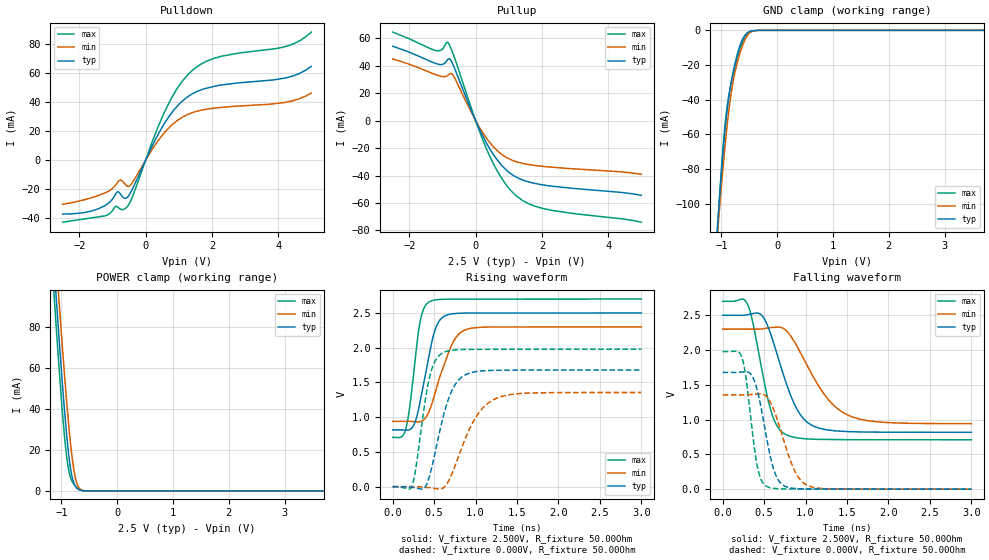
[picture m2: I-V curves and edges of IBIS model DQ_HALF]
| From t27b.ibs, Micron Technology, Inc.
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|   MODEL DQ_HALF
[Model]   DQ_HALF
Model_type   I/O
Vinl = 940.0mV
Vinh = 1.560V
Vmeas = 1.250V
Vref = 1.250V
Cref = 30.000pF
Rref = 50.000Ohm
|   typ   min   max
C_comp   3.42pF   3.22pF   3.74pF
[Model Spec]
| Input threshold voltage corners
Vinh   1.560V   1.460V   1.660V
Vinl   0.940V   0.840V   1.040V
| Measurement voltage corners
Vmeas   1.250V   1.150V   1.350V
[Voltage Range]   2.500V   2.300V   2.700V
| Junction Temperature (Ambient temp is 25C typ, 70C min, 0C max)
[Temperature Range]   40.0   85.0   0.0
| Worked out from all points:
|   slope of the pulldown table from 0 to 0.375 V, typ, clamps not added: 21.2 ohm
|   slope of the pullup table from 0 to 0.375 V, typ, clamps not added: 20.4 ohm
|   GND clamp passes 1 mA (typ) near -0.51 V on its own axis
|   POWER clamp passes 1 mA (typ) near -0.71 V on its own axis
|   falling waveform, V_fixture 2.500V, R_fixture 50.00Ohm: 20-80 % time 297ps typ, 426ps min, 208ps max; typ from 2.5 V to 0.817 V
|   rising waveform, V_fixture 2.500V, R_fixture 50.00Ohm: 20-80 % time 169ps typ, 230ps min, 120ps max; typ from 0.817 V to 2.5 V
|   rising waveform, V_fixture 0.000V, R_fixture 50.00Ohm: 20-80 % time 217ps typ, 310ps min, 151ps max; typ from 0 V to 1.68 V
|   falling waveform, V_fixture 0.000V, R_fixture 50.00Ohm: 20-80 % time 170ps typ, 233ps min, 124ps max; typ from 1.68 V to 0 V
[Pulldown]
|   Voltage   I(typ)   I(min)   I(max)
-2.5V     -37.07mA   -30.4mA    -42.7mA
-1.42V    -33.42mA   NA         NA
-1.08V    -28.9mA    NA         NA
-840mV    -21.64mA   NA         NA
-540mV    -25.35mA   NA         NA
360mV     17.1mA     NA         NA
700mV     29.98mA    NA         NA
1.04V     39.38mA    NA         NA
1.56V     47.55mA    NA         NA
2.2V      51.62mA    NA         NA
4.24V     56.82mA    NA         NA
5V        64.71mA    46.28mA    88.37mA
[GND Clamp]
|   Voltage   I(typ)   I(min)   I(max)
-2.5V     -883.9mA   -774.4mA   -1.04A
-1.1V     -126.7mA   NA         NA
-1.06V    -108mA     NA         NA
-1V       -81.8mA    NA         NA
-960mV    -66.07mA   NA         NA
-920mV    -52.41mA   NA         NA
-880mV    -41.29mA   NA         NA
-820mV    -28.91mA   NA         NA
-720mV    -14.26mA   NA         NA
-620mV    -4.929mA   NA         NA
-500mV    -702.1uA   NA         NA
5V        0A         0A         0A
[Pullup]
|   Voltage   I(typ)   I(min)   I(max)
-2.5V     54.18mA    44.92mA    64.46mA
-1.12V    40.98mA    NA         NA
-970mV    41.15mA    NA         52.87mA
-820mV    44.91mA    NA         NA
-730mV    43.27mA    34.28mA    NA
-660mV    39.66mA    NA         NA
0V        -204.8nA   557.2nA    867.1nA
400mV     -19.44mA   NA         NA
800mV     -32.97mA   NA         NA
1.32V     -42.31mA   NA         NA
2.22V     -47.51mA   NA         NA
5V        -54.42mA   -39.1mA    -73.99mA
[POWER Clamp]
|   Voltage   I(typ)   I(min)   I(max)
-2.5V     722.8mA    724mA      725.8mA
-1.14V    113mA      NA         NA
-1.11V    100.9mA    118.5mA    86.56mA
-1.08V    88.94mA    NA         NA
-1.06V    81.12mA    NA         NA
-1.04V    73.43mA    NA         NA
-960mV    44.38mA    NA         NA
-880mV    20.21mA    NA         NA
-840mV    11.46mA    NA         NA
-780mV    3.955mA    NA         NA
-670mV    417.8uA    1.022mA    626.2uA
5V        0A         0A         0A
[Ramp]
R_load = 50.00Ohm
|   typ   min   max
dV/dt_r   1.007V/216.585ps 813.722mV/309.849ps   1.187V/151.141ps
dV/dt_f   1.010V/296.100ps 816.175mV/425.174ps   1.194V/207.174ps
[Falling Waveform]
V_fixture = 2.500V
V_fixture_min = 2.300V
V_fixture_max = 2.700V
R_fixture = 50.00Ohm
|   Time   V(typ)   V(min)   V(max)
0s        2.5V       2.301V     2.7V
290ps     2.505V     NA         NA
370ps     2.526V     NA         NA
500ps     2.453V     NA         NA
610ps     2.118V     NA         NA
750ps     1.581V     NA         NA
1.03ns    952.3mV    NA         NA
1.25ns    853.5mV    NA         NA
1.51ns    827.1mV    NA         NA
3ns       817.2mV    940.3mV    709.9mV
[Rising Waveform]
V_fixture = 2.500V
V_fixture_min = 2.300V
V_fixture_max = 2.700V
R_fixture = 50.00Ohm
|   Time   V(typ)   V(min)   V(max)
0s        817.2mV    940.3mV    709.9mV
110ps     817.6mV    NA         NA
170ps     812.2mV    NA         NA
260ps     901.1mV    NA         NA
330ps     1.217V     NA         NA
450ps     1.956V     NA         NA
590ps     2.426V     NA         NA
720ps     2.488V     NA         NA
890ps     2.499V     NA         NA
3ns       2.5V       2.301V     2.7V
[Rising Waveform]
V_fixture = 0.000V
V_fixture_min = 0.000V
V_fixture_max = 0.000V
R_fixture = 50.00Ohm
|   Time   V(typ)   V(min)   V(max)
0s        -476.5uV   -615uV     -357.8uV
170ps     -461.4uV   NA         NA
260ps     -14.98mV   NA         NA
370ps     -31.25mV   NA         NA
450ps     176.7mV    NA         NA
600ps     962.8mV    NA         NA
800ps     1.541V     NA         NA
1.01ns    1.657V     NA         NA
1.22ns    1.675V     NA         NA
3ns       1.678V     1.356V     1.978V
[Falling Waveform]
V_fixture = 0.000V
V_fixture_min = 0.000V
V_fixture_max = 0.000V
R_fixture = 50.00Ohm
|   Time   V(typ)   V(min)   V(max)
0s        1.678V     1.356V     1.978V
170ps     1.678V     NA         NA
270ps     1.687V     NA         NA
410ps     1.454V     NA         NA
530ps     733.1mV    NA         NA
610ps     304.3mV    NA         NA
690ps     98.42mV    NA         NA
850ps     11.71mV    NA         NA
1.03ns    2.108mV    NA         NA
3ns       -476.5uV   -615uV     -357.8uV
